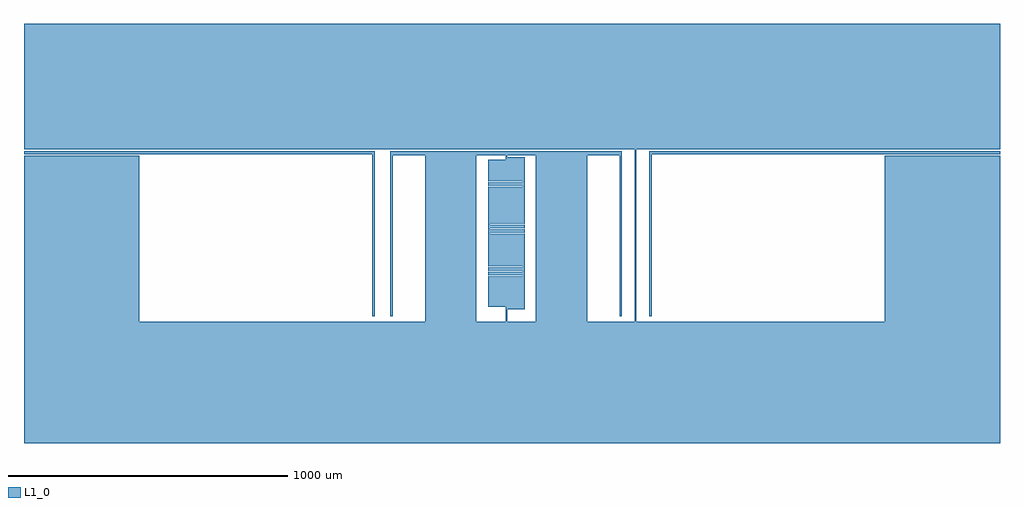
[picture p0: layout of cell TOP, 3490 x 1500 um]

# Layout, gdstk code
import gdstk
lib = gdstk.Library(unit=1e-6, precision=1e-09)
def R(c, l, rs):  # rectangles x0, y0, x1, y1
    for r in rs: c.add(gdstk.rectangle(r[:2], r[2:], *l))
def P(c, l, *ps):  # polygons
    for p in ps: c.add(gdstk.Polygon(p, *l))
L1_0 = (1, 0)

top = lib.new_cell('TOP')
R(top, L1_0, [(1434,434,1618,1028), (1830,434,2014,1028)])
P(top, L1_0, [(1254,1044),(0,1044),(0,1034),(1246,1034),(1246,454),(1254,454)],
  [(2244,1034),(3490,1034),(3490,1044),(2236,1044),(2236,454),(2244,454)],
  [(3490,1052),(3490,1500),(0,1500),(0,1052),(2184,1052),(2184,434),(412,434),(412,1028),(0,1028),(0,0),(3490,0),(3490,1028),(3078,1028),(3078,434),(2190,434),(2190,1052)],
  [(1310,454),(1318,454),(1318,1030),(2130,1030),(2130,454),(2138,454),(2138,1044),(1310,1044)],
  [(1728,480),(1790,480),(1790,494),(1666,494),(1666,496),(1790,496),(1790,510),(1666,510),(1666,512),(1790,512),(1790,526),(1666,526),(1666,528),(1790,528),(1790,542),(1666,542),(1666,544),(1790,544),(1790,558),(1666,558),(1666,560),(1790,560),(1790,574),(1666,574),(1666,576),(1790,576),(1790,590),(1666,590),(1666,592),(1790,592),(1790,606),(1666,606),(1666,608),(1790,608),(1790,622),(1666,622),(1666,624),(1790,624),(1790,638),(1666,638),(1666,640),(1790,640),(1790,654),(1666,654),(1666,656),(1790,656),(1790,670),(1666,670),(1666,672),(1790,672),(1790,686),(1666,686),(1666,688),(1790,688),(1790,702),(1666,702),(1666,704),(1790,704),(1790,718),(1666,718),(1666,720),(1790,720),(1790,734),(1666,734),(1666,736),(1790,736),(1790,750),(1666,750),(1666,752),(1660,752),(1660,744),(1784,744),(1784,742),(1660,742),(1660,728),(1784,728),(1784,726),(1660,726),(1660,712),(1784,712),(1784,710),(1660,710),(1660,696),(1784,696),(1784,694),(1660,694),(1660,680),(1784,680),(1784,678),(1660,678),(1660,664),(1784,664),(1784,662),(1660,662),(1660,648),(1784,648),(1784,646),(1660,646),(1660,632),(1784,632),(1784,630),(1660,630),(1660,616),(1784,616),(1784,614),(1660,614),(1660,600),(1784,600),(1784,598),(1660,598),(1660,584),(1784,584),(1784,582),(1660,582),(1660,568),(1784,568),(1784,566),(1660,566),(1660,552),(1784,552),(1784,550),(1660,550),(1660,536),(1784,536),(1784,534),(1660,534),(1660,520),(1784,520),(1784,518),(1660,518),(1660,504),(1784,504),(1784,502),(1660,502),(1660,488),(1784,488),(1784,486),(1722,486),(1722,434),(1728,434)],
  [(1790,766),(1666,766),(1666,768),(1790,768),(1790,782),(1666,782),(1666,784),(1790,784),(1790,798),(1666,798),(1666,800),(1790,800),(1790,814),(1666,814),(1666,816),(1790,816),(1790,830),(1666,830),(1666,832),(1790,832),(1790,846),(1666,846),(1666,848),(1790,848),(1790,862),(1666,862),(1666,864),(1790,864),(1790,878),(1666,878),(1666,880),(1790,880),(1790,894),(1666,894),(1666,896),(1790,896),(1790,910),(1666,910),(1666,912),(1790,912),(1790,926),(1666,926),(1666,928),(1790,928),(1790,942),(1666,942),(1666,944),(1790,944),(1790,958),(1666,958),(1666,960),(1790,960),(1790,974),(1666,974),(1666,976),(1790,976),(1790,990),(1666,990),(1666,992),(1790,992),(1790,1006),(1666,1006),(1666,1008),(1790,1008),(1790,1022),(1728,1022),(1728,1030),(1722,1030),(1722,1016),(1784,1016),(1784,1014),(1660,1014),(1660,1000),(1784,1000),(1784,998),(1660,998),(1660,984),(1784,984),(1784,982),(1660,982),(1660,968),(1784,968),(1784,966),(1660,966),(1660,952),(1784,952),(1784,950),(1660,950),(1660,936),(1784,936),(1784,934),(1660,934),(1660,920),(1784,920),(1784,918),(1660,918),(1660,904),(1784,904),(1784,902),(1660,902),(1660,888),(1784,888),(1784,886),(1660,886),(1660,872),(1784,872),(1784,870),(1660,870),(1660,856),(1784,856),(1784,854),(1660,854),(1660,840),(1784,840),(1784,838),(1660,838),(1660,824),(1784,824),(1784,822),(1660,822),(1660,808),(1784,808),(1784,806),(1660,806),(1660,792),(1784,792),(1784,790),(1660,790),(1660,776),(1784,776),(1784,774),(1660,774),(1660,760),(1784,760),(1784,758),(1660,758),(1660,752),(1790,752)])

lib.write_gds('TOP.gds')
